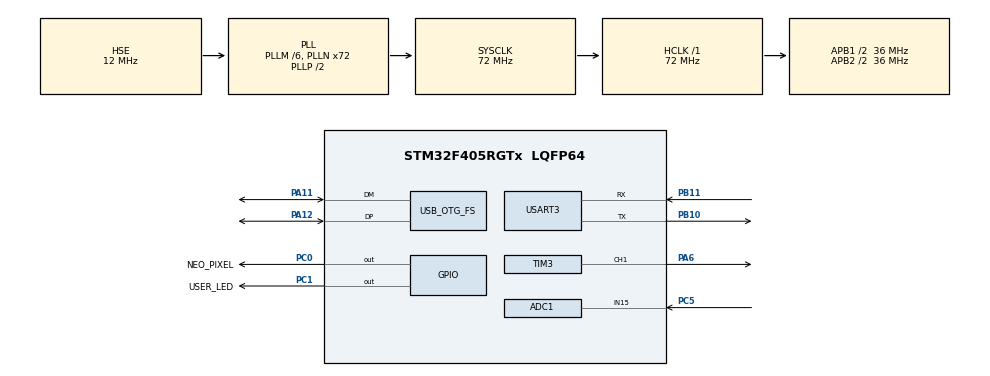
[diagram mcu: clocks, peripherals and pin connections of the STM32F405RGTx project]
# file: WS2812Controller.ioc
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ADC1.Channel-0\#ChannelRegularConversion=ADC_CHANNEL_15
ADC1.NbrOfConversionFlag=1
ADC1.Rank-0\#ChannelRegularConversion=1
ADC1.SamplingTime-0\#ChannelRegularConversion=ADC_SAMPLETIME_3CYCLES
ADC1.master=1
Dma.Request0=TIM3_CH1/TRIG
Dma.Request1=USART3_RX
Dma.TIM3_CH1/TRIG.0.Direction=DMA_MEMORY_TO_PERIPH
Dma.TIM3_CH1/TRIG.0.FIFOMode=DMA_FIFOMODE_DISABLE
Dma.TIM3_CH1/TRIG.0.Instance=DMA1_Stream4
Dma.TIM3_CH1/TRIG.0.MemDataAlignment=DMA_MDATAALIGN_HALFWORD
Dma.TIM3_CH1/TRIG.0.MemInc=DMA_MINC_ENABLE
Dma.TIM3_CH1/TRIG.0.Mode=DMA_NORMAL
Dma.TIM3_CH1/TRIG.0.PeriphDataAlignment=DMA_PDATAALIGN_HALFWORD
Dma.TIM3_CH1/TRIG.0.PeriphInc=DMA_PINC_DISABLE
Dma.TIM3_CH1/TRIG.0.Priority=DMA_PRIORITY_LOW
Dma.USART3_RX.1.Direction=DMA_PERIPH_TO_MEMORY
Dma.USART3_RX.1.FIFOMode=DMA_FIFOMODE_DISABLE
Dma.USART3_RX.1.Instance=DMA1_Stream1
Dma.USART3_RX.1.MemDataAlignment=DMA_MDATAALIGN_BYTE
Dma.USART3_RX.1.MemInc=DMA_MINC_ENABLE
Dma.USART3_RX.1.Mode=DMA_NORMAL
Dma.USART3_RX.1.PeriphDataAlignment=DMA_PDATAALIGN_BYTE
Dma.USART3_RX.1.PeriphInc=DMA_PINC_DISABLE
Dma.USART3_RX.1.Priority=DMA_PRIORITY_LOW
Mcu.Family=STM32F4
Mcu.Name=STM32F405RGTx
Mcu.Package=LQFP64
NVIC.ADC_IRQn=true\:0\:0\:false\:false\:true\:true\:true\:true
NVIC.DMA1_Stream1_IRQn=true\:0\:0\:false\:false\:true\:false\:true\:true
NVIC.DMA1_Stream4_IRQn=true\:0\:0\:false\:false\:true\:false\:true\:true
NVIC.HASH_RNG_IRQn=true\:0\:0\:false\:false\:true\:true\:true\:true
NVIC.OTG_FS_IRQn=true\:0\:0\:false\:false\:true\:false\:true\:true
NVIC.PriorityGroup=NVIC_PRIORITYGROUP_4
NVIC.TIM3_IRQn=true\:0\:0\:false\:false\:true\:true\:true\:true
NVIC.TIM8_TRG_COM_TIM14_IRQn=true\:0\:0\:false\:false\:true\:true\:true\:true
PA11.Mode=Device_Only
PA11.Signal=USB_OTG_FS_DM
PA12.Mode=Device_Only
PA12.Signal=USB_OTG_FS_DP
PA13.Mode=Serial_Wire
PA13.Signal=SYS_JTMS-SWDIO
PA14.Mode=Serial_Wire
PA14.Signal=SYS_JTCK-SWCLK
PA6.Signal=S_TIM3_CH1
PB10.Mode=Asynchronous
PB10.Signal=USART3_TX
PB11.Mode=Asynchronous
PB11.Signal=USART3_RX
PC0.GPIO_Label=NEO_PIXEL
PC0.Signal=GPIO_Output
PC1.GPIO_Label=USER_LED
PC1.Signal=GPIO_Output
PC5.Signal=ADCx_IN15
PH0-OSC_IN.Mode=HSE-External-Oscillator
PH0-OSC_IN.Signal=RCC_OSC_IN
PH1-OSC_OUT.Mode=HSE-External-Oscillator
PH1-OSC_OUT.Signal=RCC_OSC_OUT
ProjectManager.HeapSize=0x200
ProjectManager.StackSize=0x400
ProjectManager.TargetToolchain=STM32CubeIDE
RCC.48MHZClocksFreq_Value=48000000
RCC.AHBFreq_Value=72000000
RCC.APB1CLKDivider=RCC_HCLK_DIV2
RCC.APB1Freq_Value=36000000
RCC.APB1TimFreq_Value=72000000
RCC.APB2CLKDivider=RCC_HCLK_DIV2
RCC.APB2Freq_Value=36000000
RCC.APB2TimFreq_Value=72000000
RCC.CortexFreq_Value=72000000
RCC.HCLKFreq_Value=72000000
RCC.HSE_VALUE=12000000
RCC.HSI_VALUE=16000000
RCC.LSE_VALUE=32768
RCC.PLLM=6
RCC.PLLN=72
RCC.PLLQ=3
RCC.SYSCLKFreq_VALUE=72000000
RCC.SYSCLKSource=RCC_SYSCLKSOURCE_PLLCLK
RCC.VCOOutputFreq_Value=144000000
SH.ADCx_IN15.0=ADC1_IN15,IN15
SH.S_TIM3_CH1.0=TIM3_CH1,PWM Generation1 CH1
TIM14.Period=1000-1
TIM14.Prescaler=8000-1
TIM3.Channel-PWM\ Generation1\ CH1=TIM_CHANNEL_1
TIM3.Period=90-1
TIM3.Prescaler=0
TIM3.Pulse-PWM\ Generation1\ CH1=2
USART3.VirtualMode=VM_ASYNC
USB_DEVICE.CLASS_NAME_FS=CDC
USB_DEVICE.VirtualMode-CDC_FS=Cdc
USB_DEVICE.VirtualModeFS=Cdc_FS
USB_OTG_FS.VirtualMode=Device_Only
VP_RNG_VS_RNG.Mode=RNG_Activate
VP_TIM14_VS_ClockSourceINT.Mode=Enable_Timer
VP_TIM3_VS_ClockSourceINT.Mode=Internal
VP_USB_DEVICE_VS_USB_DEVICE_CDC_FS.Mode=CDC_FS
board=custom

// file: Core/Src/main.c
/* USER CODE BEGIN Header */
/**
 ******************************************************************************
 * @file           : main.c
 * @brief          : Main program body
 ******************************************************************************
 * @attention
 *
 * Copyright (c) 2023 STMicroelectronics.
 * All rights reserved.
 *
 * This software is licensed under terms that can be found in the LICENSE file
 * in the root directory of this software component.
 * If no LICENSE file comes with this software, it is provided AS-IS.
 *
 ******************************************************************************
 */
/* USER CODE END Header */
#include "main.h"
#include "usb_device.h"

/* USER CODE BEGIN Includes */
#include <string.h>
#include <stdio.h>
#include "WS2812.h"
#include "usbd_cdc_if.h"
#include "i2c_bus.h"
#include "app.h"
#include "bootloader.h"
#include "watchdog.h"
/* USER CODE END Includes */

ADC_HandleTypeDef hadc1;

RNG_HandleTypeDef hrng;

TIM_HandleTypeDef htim3;
TIM_HandleTypeDef htim14;
DMA_HandleTypeDef hdma_tim3_ch1_trig;

UART_HandleTypeDef huart3;
DMA_HandleTypeDef hdma_usart3_rx;

/* USER CODE BEGIN PV */
uint8_t DMA_FINISH = FALSE;
uint8_t Trigger = TRUE;
uint8_t RNGFlag = FALSE;
uint32_t adcValue = 0;

/* USER CODE END PV */

void SystemClock_Config(void);
static void MX_GPIO_Init(void);
static void MX_DMA_Init(void);
static void MX_TIM3_Init(void);
static void MX_USART3_UART_Init(void);
static void MX_TIM14_Init(void);
static void MX_RNG_Init(void);
static void MX_ADC1_Init(void);

/* USER CODE BEGIN 0 */
void HAL_TIM_PWM_PulseFinishedCallback(TIM_HandleTypeDef *htim);
/* USER CODE END 0 */

int main(void)
{

  /* USER CODE BEGIN 1 */
  // Muss vor jeder Initialisierung stehen: springt bei Bedarf in den USB-DFU-Bootloader
  Bootloader_CheckAndJump();
  Watchdog_ReadResetCause();

  uint8_t brightness = 128;

  char tx_begin[] = "/* ========== main begin  ========== */\r\n";
  WS2812Controller ws2812Controller;
  /* USER CODE END 1 */

  /* MCU Configuration--------------------------------------------------------*/

  /* Reset of all peripherals, Initializes the Flash interface and the Systick. */
  HAL_Init();

  /* Configure the system clock */
  SystemClock_Config();

  /* Initialize all configured peripherals */
  MX_GPIO_Init();
  MX_DMA_Init();
  MX_TIM3_Init();
  MX_USART3_UART_Init();
  MX_TIM14_Init();
  MX_RNG_Init();
  MX_ADC1_Init();
  MX_USB_DEVICE_Init();
  /* USER CODE BEGIN 2 */
  I2C_Bus_Init();
  /* USER CODE END 2 */

  /* Infinite loop */
  /* USER CODE BEGIN WHILE */
  HAL_UART_Transmit(&huart3, (uint8_t *)tx_begin, strlen(tx_begin), 100);

  WS2812_Init(&ws2812Controller, &htim3, &huart3, TIM_CHANNEL_1, NUM_LEDS);
  WS2812_SetBrightness(&ws2812Controller, brightness);
  for (uint16_t i = 0; i < ws2812Controller.numLeds; i++)
  {
    WS2812_SetColor(&ws2812Controller, i, 0, 0, 0);
  }
  WS2812_Update(&ws2812Controller);

  App_Init(&ws2812Controller, &huart3);

  // Erst nach der Initialisierung starten: Selbsttest und Sensor-Suche dauern einige Sekunden
  Watchdog_Start();

  uint32_t tLed = HAL_GetTick();
  while (1)
  {
    Watchdog_Feed();
    App_Process();

    // Rote Board-LED blinkt als Lebenszeichen
    if (HAL_GetTick() - tLed >= 500)
    {
      tLed = HAL_GetTick();
      HAL_GPIO_TogglePin(GPIOC, USER_LED_Pin);
    }
  }
  /* USER CODE END WHILE */

}

void SystemClock_Config(void)
{
  RCC_OscInitTypeDef RCC_OscInitStruct = {0};
  RCC_ClkInitTypeDef RCC_ClkInitStruct = {0};

  /** Configure the main internal regulator output voltage
   */
  __HAL_RCC_PWR_CLK_ENABLE();
  __HAL_PWR_VOLTAGESCALING_CONFIG(PWR_REGULATOR_VOLTAGE_SCALE1);

  /** Initializes the RCC Oscillators according to the specified parameters
   * in the RCC_OscInitTypeDef structure.
   */
  RCC_OscInitStruct.OscillatorType = RCC_OSCILLATORTYPE_HSE;
  RCC_OscInitStruct.HSEState = RCC_HSE_ON;
  RCC_OscInitStruct.PLL.PLLState = RCC_PLL_ON;
  RCC_OscInitStruct.PLL.PLLSource = RCC_PLLSOURCE_HSE;
  RCC_OscInitStruct.PLL.PLLM = 6;
  RCC_OscInitStruct.PLL.PLLN = 72;
  RCC_OscInitStruct.PLL.PLLP = RCC_PLLP_DIV2;
  RCC_OscInitStruct.PLL.PLLQ = 3;
  if (HAL_RCC_OscConfig(&RCC_OscInitStruct) != HAL_OK)
  {
    Error_Handler();
  }

  /** Initializes the CPU, AHB and APB buses clocks
   */
  RCC_ClkInitStruct.ClockType = RCC_CLOCKTYPE_HCLK | RCC_CLOCKTYPE_SYSCLK | RCC_CLOCKTYPE_PCLK1 | RCC_CLOCKTYPE_PCLK2;
  RCC_ClkInitStruct.SYSCLKSource = RCC_SYSCLKSOURCE_PLLCLK;
  RCC_ClkInitStruct.AHBCLKDivider = RCC_SYSCLK_DIV1;
  RCC_ClkInitStruct.APB1CLKDivider = RCC_HCLK_DIV2;
  RCC_ClkInitStruct.APB2CLKDivider = RCC_HCLK_DIV2;

  if (HAL_RCC_ClockConfig(&RCC_ClkInitStruct, FLASH_LATENCY_2) != HAL_OK)
  {
    Error_Handler();
  }
}

static void MX_ADC1_Init(void)
{

  ADC_ChannelConfTypeDef sConfig = {0};

  /** Configure the global features of the ADC (Clock, Resolution, Data Alignment and number of conversion)
   */
  hadc1.Instance = ADC1;
  hadc1.Init.ClockPrescaler = ADC_CLOCK_SYNC_PCLK_DIV2;
  hadc1.Init.Resolution = ADC_RESOLUTION_12B;
  hadc1.Init.ScanConvMode = DISABLE;
  hadc1.Init.ContinuousConvMode = DISABLE;
  hadc1.Init.DiscontinuousConvMode = DISABLE;
  hadc1.Init.ExternalTrigConvEdge = ADC_EXTERNALTRIGCONVEDGE_NONE;
  hadc1.Init.ExternalTrigConv = ADC_SOFTWARE_START;
  hadc1.Init.DataAlign = ADC_DATAALIGN_RIGHT;
  hadc1.Init.NbrOfConversion = 1;
  hadc1.Init.DMAContinuousRequests = DISABLE;
  hadc1.Init.EOCSelection = ADC_EOC_SINGLE_CONV;
  if (HAL_ADC_Init(&hadc1) != HAL_OK)
  {
    Error_Handler();
  }

  /** Configure for the selected ADC regular channel its corresponding rank in the sequencer and its sample time.
   */
  sConfig.Channel = ADC_CHANNEL_15;
  sConfig.Rank = 1;
  sConfig.SamplingTime = ADC_SAMPLETIME_3CYCLES;
  if (HAL_ADC_ConfigChannel(&hadc1, &sConfig) != HAL_OK)
  {
    Error_Handler();
  }
}

static void MX_RNG_Init(void)
{

  hrng.Instance = RNG;
  if (HAL_RNG_Init(&hrng) != HAL_OK)
  {
    Error_Handler();
  }
}

static void MX_TIM3_Init(void)
{

  TIM_ClockConfigTypeDef sClockSourceConfig = {0};
  TIM_MasterConfigTypeDef sMasterConfig = {0};
  TIM_OC_InitTypeDef sConfigOC = {0};

  htim3.Instance = TIM3;
  htim3.Init.Prescaler = 0;
  htim3.Init.CounterMode = TIM_COUNTERMODE_UP;
  htim3.Init.Period = 90 - 1;
  htim3.Init.ClockDivision = TIM_CLOCKDIVISION_DIV1;
  htim3.Init.AutoReloadPreload = TIM_AUTORELOAD_PRELOAD_DISABLE;
  if (HAL_TIM_Base_Init(&htim3) != HAL_OK)
  {
    Error_Handler();
  }
  sClockSourceConfig.ClockSource = TIM_CLOCKSOURCE_INTERNAL;
  if (HAL_TIM_ConfigClockSource(&htim3, &sClockSourceConfig) != HAL_OK)
  {
    Error_Handler();
  }
  if (HAL_TIM_PWM_Init(&htim3) != HAL_OK)
  {
    Error_Handler();
  }
  sMasterConfig.MasterOutputTrigger = TIM_TRGO_RESET;
  sMasterConfig.MasterSlaveMode = TIM_MASTERSLAVEMODE_DISABLE;
  if (HAL_TIMEx_MasterConfigSynchronization(&htim3, &sMasterConfig) != HAL_OK)
  {
    Error_Handler();
  }
  sConfigOC.OCMode = TIM_OCMODE_PWM1;
  sConfigOC.Pulse = 2;
  sConfigOC.OCPolarity = TIM_OCPOLARITY_HIGH;
  sConfigOC.OCFastMode = TIM_OCFAST_DISABLE;
  if (HAL_TIM_PWM_ConfigChannel(&htim3, &sConfigOC, TIM_CHANNEL_1) != HAL_OK)
  {
    Error_Handler();
  }
  HAL_TIM_MspPostInit(&htim3);
}

static void MX_TIM14_Init(void)
{

  htim14.Instance = TIM14;
  htim14.Init.Prescaler = 8000 - 1;
  htim14.Init.CounterMode = TIM_COUNTERMODE_UP;
  htim14.Init.Period = 1000 - 1;
  htim14.Init.ClockDivision = TIM_CLOCKDIVISION_DIV1;
  htim14.Init.AutoReloadPreload = TIM_AUTORELOAD_PRELOAD_DISABLE;
  if (HAL_TIM_Base_Init(&htim14) != HAL_OK)
  {
    Error_Handler();
  }
}

static void MX_USART3_UART_Init(void)
{

  huart3.Instance = USART3;
  huart3.Init.BaudRate = 115200;
  huart3.Init.WordLength = UART_WORDLENGTH_8B;
  huart3.Init.StopBits = UART_STOPBITS_1;
  huart3.Init.Parity = UART_PARITY_NONE;
  huart3.Init.Mode = UART_MODE_TX_RX;
  huart3.Init.HwFlowCtl = UART_HWCONTROL_NONE;
  huart3.Init.OverSampling = UART_OVERSAMPLING_16;
  if (HAL_UART_Init(&huart3) != HAL_OK)
  {
    Error_Handler();
  }
}

static void MX_DMA_Init(void)
{

  /* DMA controller clock enable */
  __HAL_RCC_DMA1_CLK_ENABLE();

  /* DMA interrupt init */
  /* DMA1_Stream1_IRQn interrupt configuration */
  HAL_NVIC_SetPriority(DMA1_Stream1_IRQn, 0, 0);
  HAL_NVIC_EnableIRQ(DMA1_Stream1_IRQn);
  /* DMA1_Stream4_IRQn interrupt configuration */
  HAL_NVIC_SetPriority(DMA1_Stream4_IRQn, 0, 0);
  HAL_NVIC_EnableIRQ(DMA1_Stream4_IRQn);
}

static void MX_GPIO_Init(void)
{
  GPIO_InitTypeDef GPIO_InitStruct = {0};

  /* GPIO Ports Clock Enable */
  __HAL_RCC_GPIOH_CLK_ENABLE();
  __HAL_RCC_GPIOC_CLK_ENABLE();
  __HAL_RCC_GPIOA_CLK_ENABLE();
  __HAL_RCC_GPIOB_CLK_ENABLE();

  /*Configure GPIO pin Output Level */
  HAL_GPIO_WritePin(GPIOC, NEO_PIXEL_Pin | USER_LED_Pin, GPIO_PIN_RESET);

  /*Configure GPIO pins : NEO_PIXEL_Pin USER_LED_Pin */
  GPIO_InitStruct.Pin = NEO_PIXEL_Pin | USER_LED_Pin;
  GPIO_InitStruct.Mode = GPIO_MODE_OUTPUT_PP;
  GPIO_InitStruct.Pull = GPIO_NOPULL;
  GPIO_InitStruct.Speed = GPIO_SPEED_FREQ_LOW;
  HAL_GPIO_Init(GPIOC, &GPIO_InitStruct);

}

/* USER CODE BEGIN 4 */
void HAL_TIM_PWM_PulseFinishedCallback(TIM_HandleTypeDef *htim)
{
  if (htim->Instance == TIM3)
  {
    HAL_TIM_PWM_Stop_DMA(&htim3, TIM_CHANNEL_1);
    DMA_FINISH = TRUE;
  }
}
void HAL_TIM_PeriodElapsedCallback(TIM_HandleTypeDef *htim)
{
  if (htim->Instance == TIM14)
  {
    HAL_RNG_GenerateRandomNumber_IT(&hrng);
    // Trigger = TRUE;
    //  HAL_GPIO_TogglePin(GPIOC, USER_LED_Pin);
  }
}

void HAL_RNG_ReadyDataCallback(RNG_HandleTypeDef *hrng, uint32_t random32bit)
{
  /* Prevent unused argument(s) compilation warning */
  UNUSED(hrng);
  UNUSED(random32bit);
  /* NOTE : This function should not be modified. When the callback is needed,
            function HAL_RNG_ReadyDataCallback must be implemented in the user file.
   */
  RNGFlag = TRUE;
}

void HAL_ADC_ConvCpltCallback(ADC_HandleTypeDef *hadc)
{
  if (hadc->Instance == ADC1)
  {
    adcValue = HAL_ADC_GetValue(&hadc1);
    // HAL_GPIO_TogglePin(GPIOC, USER_LED_Pin);
  }
}
/* USER CODE END 4 */

void Error_Handler(void)
{
  __disable_irq();
  while (1)
  {
  }
}
